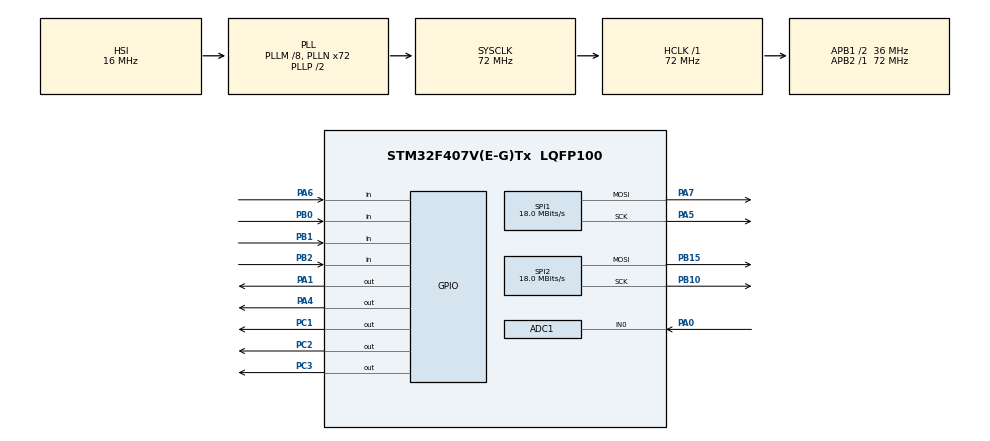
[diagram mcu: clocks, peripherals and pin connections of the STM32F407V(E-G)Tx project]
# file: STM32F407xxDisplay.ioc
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ADC1.Channel-2\#ChannelRegularConversion=ADC_CHANNEL_0
ADC1.NbrOfConversionFlag=1
ADC1.Rank-2\#ChannelRegularConversion=1
ADC1.SamplingTime-2\#ChannelRegularConversion=ADC_SAMPLETIME_3CYCLES
ADC1.master=1
Dma.Request0=SPI1_TX
Dma.SPI1_TX.0.Direction=DMA_MEMORY_TO_PERIPH
Dma.SPI1_TX.0.FIFOMode=DMA_FIFOMODE_DISABLE
Dma.SPI1_TX.0.Instance=DMA2_Stream3
Dma.SPI1_TX.0.MemDataAlignment=DMA_MDATAALIGN_BYTE
Dma.SPI1_TX.0.MemInc=DMA_MINC_ENABLE
Dma.SPI1_TX.0.Mode=DMA_NORMAL
Dma.SPI1_TX.0.PeriphDataAlignment=DMA_PDATAALIGN_BYTE
Dma.SPI1_TX.0.PeriphInc=DMA_PINC_DISABLE
Dma.SPI1_TX.0.Priority=DMA_PRIORITY_LOW
Mcu.Family=STM32F4
Mcu.Name=STM32F407V(E-G)Tx
Mcu.Package=LQFP100
NVIC.DMA2_Stream3_IRQn=true\:0\:0\:false\:false\:true\:false\:true\:true
NVIC.PriorityGroup=NVIC_PRIORITYGROUP_4
PA0-WKUP.Signal=ADCx_IN0
PA1.PinState=GPIO_PIN_SET
PA1.Signal=GPIO_Output
PA13.Mode=Serial_Wire
PA13.Signal=SYS_JTMS-SWDIO
PA14.Mode=Serial_Wire
PA14.Signal=SYS_JTCK-SWCLK
PA4.Signal=GPIO_Output
PA5.Mode=TX_Only_Simplex_Unidirect_Master
PA5.Signal=SPI1_SCK
PA6.Signal=GPIO_Input
PA7.Mode=TX_Only_Simplex_Unidirect_Master
PA7.Signal=SPI1_MOSI
PB0.Signal=GPIO_Input
PB1.Signal=GPIO_Input
PB10.Mode=TX_Only_Simplex_Unidirect_Master
PB10.Signal=SPI2_SCK
PB15.Mode=TX_Only_Simplex_Unidirect_Master
PB15.Signal=SPI2_MOSI
PB2.Signal=GPIO_Input
PC1.Signal=GPIO_Output
PC2.Signal=GPIO_Output
PC3.Signal=GPIO_Output
PH0-OSC_IN.Mode=HSE-External-Oscillator
PH0-OSC_IN.Signal=RCC_OSC_IN
PH1-OSC_OUT.Mode=HSE-External-Oscillator
PH1-OSC_OUT.Signal=RCC_OSC_OUT
ProjectManager.HeapSize=0x200
ProjectManager.StackSize=0x400
ProjectManager.TargetToolchain=STM32CubeIDE
RCC.48MHZClocksFreq_Value=36000000
RCC.AHBFreq_Value=72000000
RCC.APB1CLKDivider=RCC_HCLK_DIV2
RCC.APB1Freq_Value=36000000
RCC.APB1TimFreq_Value=72000000
RCC.APB2Freq_Value=72000000
RCC.APB2TimFreq_Value=72000000
RCC.CortexFreq_Value=72000000
RCC.HCLKFreq_Value=72000000
RCC.HSE_VALUE=25000000
RCC.HSI_VALUE=16000000
RCC.LSE_VALUE=32768
RCC.PLLM=8
RCC.PLLN=72
RCC.SYSCLKFreq_VALUE=72000000
RCC.SYSCLKSource=RCC_SYSCLKSOURCE_PLLCLK
RCC.VCOOutputFreq_Value=144000000
SH.ADCx_IN0.0=ADC1_IN0,IN0
SPI1.BaudRatePrescaler=SPI_BAUDRATEPRESCALER_4
SPI1.CalculateBaudRate=18.0 MBits/s
SPI1.Direction=SPI_DIRECTION_2LINES
SPI1.Mode=SPI_MODE_MASTER
SPI1.VirtualType=VM_MASTER
SPI2.CalculateBaudRate=18.0 MBits/s
SPI2.Direction=SPI_DIRECTION_2LINES
SPI2.Mode=SPI_MODE_MASTER
SPI2.VirtualType=VM_MASTER
board=custom

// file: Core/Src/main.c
/* USER CODE BEGIN Header */
/**
  ******************************************************************************
  * @file           : main.c
  * @brief          : Main program body
  ******************************************************************************
  * @attention
  *
  * Copyright (c) 2026 STMicroelectronics.
  * All rights reserved.
  *
  * This software is licensed under terms that can be found in the LICENSE file
  * in the root directory of this software component.
  * If no LICENSE file comes with this software, it is provided AS-IS.
  *
  ******************************************************************************
  */
/* USER CODE END Header */
#include "main.h"

/* USER CODE BEGIN Includes */
#include "ILI9341_STM32_Driver.h"
#include "ILI9341_GFX.h"
#include "max2870.h"
#include <stdio.h>
/* USER CODE END Includes */

ADC_HandleTypeDef hadc1;

SPI_HandleTypeDef hspi1;
SPI_HandleTypeDef hspi2;
DMA_HandleTypeDef hdma_spi1_tx;

/* USER CODE BEGIN PV */
int freq = 2375;
/* USER CODE END PV */

void SystemClock_Config(void);
static void MX_GPIO_Init(void);
static void MX_DMA_Init(void);
static void MX_SPI1_Init(void);
static void MX_ADC1_Init(void);
static void MX_SPI2_Init(void);

/* USER CODE BEGIN 0 */
void update()
{
	freq += 25;
	//MAX2870_SetFrequency(2400000000ULL);
	static char concat[20];
	sprintf(concat, "Frequency: %d MHz", freq);
	ILI9341_DrawText(concat, FONT3, 75, 90, WHITE, BLACK);
	HAL_Delay(1000);
}
/* USER CODE END 0 */

int main(void)
{

  /* MCU Configuration--------------------------------------------------------*/

  /* Reset of all peripherals, Initializes the Flash interface and the Systick. */
  HAL_Init();

  /* Configure the system clock */
  SystemClock_Config();

  /* Initialize all configured peripherals */
  MX_GPIO_Init();
  MX_DMA_Init();
  MX_SPI1_Init();
  MX_ADC1_Init();
  MX_SPI2_Init();
  /* USER CODE BEGIN 2 */
  ILI9341_Init();
  MAX2870_Init();

  // Simple Text writing (Text, Font, X, Y, Color, BackColor)
  // Available Fonts are FONT1, FONT2, FONT3 and FONT4
  ILI9341_FillScreen(BLACK);
  ILI9341_SetRotation(SCREEN_HORIZONTAL_2);
  ILI9341_DrawText("Noisemaker", FONT4, 110, 50, WHITE, BLACK);

  // Draw partitions in white
  ILI9341_DrawHLine(60, 70, 200, WHITE);
  ILI9341_DrawHLine(40, 120, 240, WHITE);
  ILI9341_DrawHLine(40, 150, 240, WHITE);

  // Labels
  ILI9341_DrawText("Frequency: 2450 MHz", FONT3, 75, 90, WHITE, BLACK);
  ILI9341_DrawText("Between 2.4 - 2.5 GHz", FONT2, 80, 105, WHITE, BLACK);
  ILI9341_DrawText("Gain: 20dB", FONT3, 110, 130, WHITE, BLACK);

  MAX2870_SetFrequency(2450000000ULL); // 2.4 GHz
  //HAL_Delay(1500);

  /* USER CODE END 2 */

  /* Infinite loop */
  /* USER CODE BEGIN WHILE */
  //uint8_t last_state = 1;

  while (1)
  {
    /* USER CODE END WHILE */
	    /*uint8_t current_state = HAL_GPIO_ReadPin(GPIOA, GPIO_PIN_6);

	    if (last_state == 1 && current_state == 0)
	    {
	        update();
	        HAL_Delay(50); // debounce
	    }

	    last_state = current_state;*/
  }
}

void SystemClock_Config(void)
{
  RCC_OscInitTypeDef RCC_OscInitStruct = {0};
  RCC_ClkInitTypeDef RCC_ClkInitStruct = {0};

  /** Configure the main internal regulator output voltage
  */
  __HAL_RCC_PWR_CLK_ENABLE();
  __HAL_PWR_VOLTAGESCALING_CONFIG(PWR_REGULATOR_VOLTAGE_SCALE1);

  /** Initializes the RCC Oscillators according to the specified parameters
  * in the RCC_OscInitTypeDef structure.
  */
  RCC_OscInitStruct.OscillatorType = RCC_OSCILLATORTYPE_HSI;
  RCC_OscInitStruct.HSIState = RCC_HSI_ON;
  RCC_OscInitStruct.HSICalibrationValue = RCC_HSICALIBRATION_DEFAULT;
  RCC_OscInitStruct.PLL.PLLState = RCC_PLL_ON;
  RCC_OscInitStruct.PLL.PLLSource = RCC_PLLSOURCE_HSI;
  RCC_OscInitStruct.PLL.PLLM = 8;
  RCC_OscInitStruct.PLL.PLLN = 72;
  RCC_OscInitStruct.PLL.PLLP = RCC_PLLP_DIV2;
  RCC_OscInitStruct.PLL.PLLQ = 4;
  if (HAL_RCC_OscConfig(&RCC_OscInitStruct) != HAL_OK)
  {
    Error_Handler();
  }

  /** Initializes the CPU, AHB and APB buses clocks
  */
  RCC_ClkInitStruct.ClockType = RCC_CLOCKTYPE_HCLK|RCC_CLOCKTYPE_SYSCLK
                              |RCC_CLOCKTYPE_PCLK1|RCC_CLOCKTYPE_PCLK2;
  RCC_ClkInitStruct.SYSCLKSource = RCC_SYSCLKSOURCE_PLLCLK;
  RCC_ClkInitStruct.AHBCLKDivider = RCC_SYSCLK_DIV1;
  RCC_ClkInitStruct.APB1CLKDivider = RCC_HCLK_DIV2;
  RCC_ClkInitStruct.APB2CLKDivider = RCC_HCLK_DIV1;

  if (HAL_RCC_ClockConfig(&RCC_ClkInitStruct, FLASH_LATENCY_2) != HAL_OK)
  {
    Error_Handler();
  }
}

static void MX_ADC1_Init(void)
{

  ADC_ChannelConfTypeDef sConfig = {0};

  /** Configure the global features of the ADC (Clock, Resolution, Data Alignment and number of conversion)
  */
  hadc1.Instance = ADC1;
  hadc1.Init.ClockPrescaler = ADC_CLOCK_SYNC_PCLK_DIV6;
  hadc1.Init.Resolution = ADC_RESOLUTION_12B;
  hadc1.Init.ScanConvMode = DISABLE;
  hadc1.Init.ContinuousConvMode = DISABLE;
  hadc1.Init.DiscontinuousConvMode = DISABLE;
  hadc1.Init.ExternalTrigConvEdge = ADC_EXTERNALTRIGCONVEDGE_NONE;
  hadc1.Init.ExternalTrigConv = ADC_SOFTWARE_START;
  hadc1.Init.DataAlign = ADC_DATAALIGN_RIGHT;
  hadc1.Init.NbrOfConversion = 1;
  hadc1.Init.DMAContinuousRequests = DISABLE;
  hadc1.Init.EOCSelection = ADC_EOC_SINGLE_CONV;
  if (HAL_ADC_Init(&hadc1) != HAL_OK)
  {
    Error_Handler();
  }

  /** Configure for the selected ADC regular channel its corresponding rank in the sequencer and its sample time.
  */
  sConfig.Channel = ADC_CHANNEL_0;
  sConfig.Rank = 1;
  sConfig.SamplingTime = ADC_SAMPLETIME_3CYCLES;
  if (HAL_ADC_ConfigChannel(&hadc1, &sConfig) != HAL_OK)
  {
    Error_Handler();
  }

}

static void MX_SPI1_Init(void)
{

  /* SPI1 parameter configuration*/
  hspi1.Instance = SPI1;
  hspi1.Init.Mode = SPI_MODE_MASTER;
  hspi1.Init.Direction = SPI_DIRECTION_2LINES;
  hspi1.Init.DataSize = SPI_DATASIZE_8BIT;
  hspi1.Init.CLKPolarity = SPI_POLARITY_LOW;
  hspi1.Init.CLKPhase = SPI_PHASE_1EDGE;
  hspi1.Init.NSS = SPI_NSS_SOFT;
  hspi1.Init.BaudRatePrescaler = SPI_BAUDRATEPRESCALER_4;
  hspi1.Init.FirstBit = SPI_FIRSTBIT_MSB;
  hspi1.Init.TIMode = SPI_TIMODE_DISABLE;
  hspi1.Init.CRCCalculation = SPI_CRCCALCULATION_DISABLE;
  hspi1.Init.CRCPolynomial = 10;
  if (HAL_SPI_Init(&hspi1) != HAL_OK)
  {
    Error_Handler();
  }

}

static void MX_SPI2_Init(void)
{

  /* SPI2 parameter configuration*/
  hspi2.Instance = SPI2;
  hspi2.Init.Mode = SPI_MODE_MASTER;
  hspi2.Init.Direction = SPI_DIRECTION_2LINES;
  hspi2.Init.DataSize = SPI_DATASIZE_8BIT;
  hspi2.Init.CLKPolarity = SPI_POLARITY_LOW;
  hspi2.Init.CLKPhase = SPI_PHASE_1EDGE;
  hspi2.Init.NSS = SPI_NSS_SOFT;
  hspi2.Init.BaudRatePrescaler = SPI_BAUDRATEPRESCALER_2;
  hspi2.Init.FirstBit = SPI_FIRSTBIT_MSB;
  hspi2.Init.TIMode = SPI_TIMODE_DISABLE;
  hspi2.Init.CRCCalculation = SPI_CRCCALCULATION_DISABLE;
  hspi2.Init.CRCPolynomial = 10;
  if (HAL_SPI_Init(&hspi2) != HAL_OK)
  {
    Error_Handler();
  }

}

static void MX_DMA_Init(void)
{

  /* DMA controller clock enable */
  __HAL_RCC_DMA2_CLK_ENABLE();

  /* DMA interrupt init */
  /* DMA2_Stream3_IRQn interrupt configuration */
  HAL_NVIC_SetPriority(DMA2_Stream3_IRQn, 0, 0);
  HAL_NVIC_EnableIRQ(DMA2_Stream3_IRQn);

}

static void MX_GPIO_Init(void)
{
  GPIO_InitTypeDef GPIO_InitStruct = {0};

  /* GPIO Ports Clock Enable */
  __HAL_RCC_GPIOH_CLK_ENABLE();
  __HAL_RCC_GPIOC_CLK_ENABLE();
  __HAL_RCC_GPIOA_CLK_ENABLE();
  __HAL_RCC_GPIOB_CLK_ENABLE();

  /*Configure GPIO pin Output Level */
  HAL_GPIO_WritePin(GPIOC, GPIO_PIN_1|GPIO_PIN_2|GPIO_PIN_3, GPIO_PIN_RESET);

  /*Configure GPIO pin Output Level */
  HAL_GPIO_WritePin(GPIOA, GPIO_PIN_1, GPIO_PIN_SET);

  /*Configure GPIO pin Output Level */
  HAL_GPIO_WritePin(GPIOA, GPIO_PIN_4, GPIO_PIN_RESET);

  /*Configure GPIO pins : PC1 PC2 PC3 */
  GPIO_InitStruct.Pin = GPIO_PIN_1|GPIO_PIN_2|GPIO_PIN_3;
  GPIO_InitStruct.Mode = GPIO_MODE_OUTPUT_PP;
  GPIO_InitStruct.Pull = GPIO_NOPULL;
  GPIO_InitStruct.Speed = GPIO_SPEED_FREQ_LOW;
  HAL_GPIO_Init(GPIOC, &GPIO_InitStruct);

  /*Configure GPIO pins : PA1 PA4 */
  GPIO_InitStruct.Pin = GPIO_PIN_1|GPIO_PIN_4;
  GPIO_InitStruct.Mode = GPIO_MODE_OUTPUT_PP;
  GPIO_InitStruct.Pull = GPIO_NOPULL;
  GPIO_InitStruct.Speed = GPIO_SPEED_FREQ_LOW;
  HAL_GPIO_Init(GPIOA, &GPIO_InitStruct);

}

void Error_Handler(void)
{
  __disable_irq();
  while (1)
  {
  }
}
